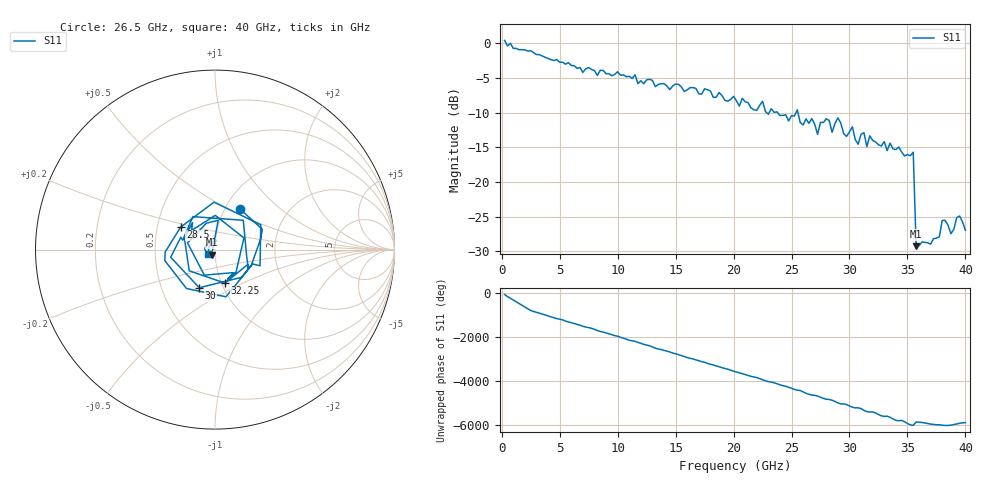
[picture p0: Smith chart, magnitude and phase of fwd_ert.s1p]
!Created with skrf (http://scikit-rf.org).
# GHz S RI R 50.0
!freq ReS11 ImS11
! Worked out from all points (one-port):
!   160 points, 250 MHz to 40 GHz, reference 50 ohm
!   lowest |S11| = -29.2 dB at 35.75 GHz (marker M1), VSWR 1.07, Z = 48.1 - j2.8 ohm
!   |S11| at or under -10 dB: 22.86 GHz to 23.07 GHz (205.9 MHz wide, 0.896 % of centre); 23.81 GHz to 25.38 GHz (1.571 GHz wide, 6.39 % of centre); 25.56 GHz to end of sweep
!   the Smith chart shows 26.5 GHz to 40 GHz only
!   S11 on the Smith chart (normalised r, x): 26.5 GHz: 1.18, +0.57; 28.5 GHz: 0.66, +0.17; 30 GHz: 0.77, -0.35; 32.25 GHz: 1.04, -0.40; 40 GHz: 0.92, -0.04
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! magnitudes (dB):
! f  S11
! 250 MHz  0.4
! 5.25 GHz  -2.7
! 10.25 GHz  -4.6
! 15.25 GHz  -5.9
! 20.25 GHz  -8.3
! 25.25 GHz  -10.5
! 26.5 GHz  -11.5
! 26.75 GHz  -10.8
! 27.25 GHz  -13.1
! 28 GHz  -10.9
! 28.5 GHz  -12.8
! 29 GHz  -10.7
! 29.5 GHz  -13.0
! 30 GHz  -12.8
! 30.25 GHz  -12.0
! 30.75 GHz  -14.5
! 31.25 GHz  -12.9
! 31.5 GHz  -14.9
! 31.75 GHz  -13.3
! 32.25 GHz  -14.2
! 35.25 GHz  -16.2
! 35.5 GHz  -15.7
! 35.75 GHz  -29.2
! 37.75 GHz  -27.9
! 38 GHz  -25.5
! 38.75 GHz  -27.4
! 39.5 GHz  -24.9
! 40 GHz  -27.0
